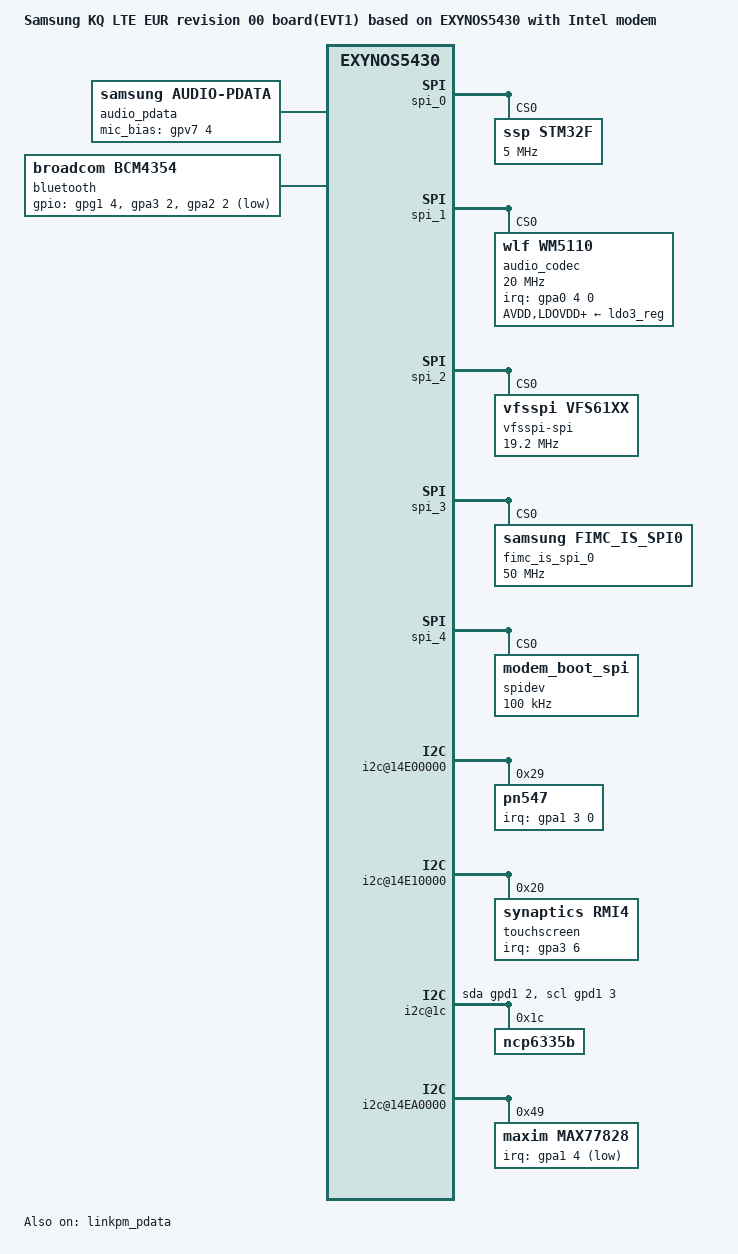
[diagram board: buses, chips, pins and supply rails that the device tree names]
/*
 * SAMSUNG UNIVERSAL5430 board device tree source
 *
 * Copyright (c) 2013 Samsung Electronics Co., Ltd.
 *		http://www.samsung.com
 *
 * This program is free software; you can redistribute it and/or modify
 * it under the terms of the GNU General Public License version 2 as
 * published by the Free Software Foundation.
*/

/dts-v1/;
#include "exynos5430-kq_common.dtsi"
#include "exynos5430-kq_battery.dtsi"

/ {
	model = "Samsung KQ LTE EUR revision 00 board(EVT1) based on EXYNOS5430 with Intel modem";
	model_info-chip = <5430>;
	model_info-platform = "kqlte";
	model_info-subtype = "kqlte_eur_open";
	model_info-hw_rev = <0>;
	model_info-hw_rev_end = <255>; /* If add new dts file for new hw , it is set to <x>. x is suppored max system revision by this dts */
	compatible = "samsung,KQ LTE EUR,r00", "samsung,exynos5430";

	dwmmc2@15560000 {
		supports-sdr104-mode;
		vmmc-en-gpio = <&gpf3 4 0x1>;
	};

	/* modem_interface_driver: Intel XMM7260 LTE Modem */
	mif_pdata {
		compatible = "sec_modem,modem_pdata";
		status = "okay";
		pinctrl-names = "default";
		pinctrl-0 = <&ap_dump_int &cp_on &pda_active &reset_req_n>;

		mif,name = "xmm7160";	/* xmm7260 */
		mif,modem_net = <0>;
		mif,modem_type = <7>;
		mif,link_types = <0x20>;
		mif,use_handover = <0>;
		mif,ipc_version = <50>;
		mif,num_iodevs = <12>;

		mif,gpio_cp_on = <&gpv6 2 0x1>;
		mif,gpio_reset_req_n = <&gpf1 1 0x1>;
		mif,gpio_cp_reset = <&gpa1 1 0x1>;
		mif,gpio_pda_active = <&gpg2 4 0x1>;
		mif,gpio_phone_active = <&gpa2 3 0xf>;
		mif,gpio_cp_dump_int = <&gpa2 6 0x0>;
		mif,gpio_ap_dump_int = <&gpg1 0 0x1>;

		mif,max_link_channel = <7>;
		mif,max_acm_channel = <3>;

		iodevs {
			io_device_0 {
				iod,name = "umts_ipc0";
				iod,id = <235>;
				iod,format = <0>;
				iod,io_type = <0>;
				iod,links = <0x20>;
				iod,attr = <0x42>;
			};
			io_device_1 {
				iod,name = "umts_rfs0";
				iod,id = <245>;
				iod,format = <2>;
				iod,io_type = <0>;
				iod,links = <0x20>;
				iod,attr = <0x62>;
			};
			io_device_2 {
				iod,name = "umts_boot0";
				iod,id = <0>;
				iod,format = <4>;
				iod,io_type = <0>;
				iod,links = <0x20>;
				iod,attr = <0>;
			};
			io_device_3 {
				iod,name = "multipdp";
				iod,id = <0>;
				iod,format = <5>;
				iod,io_type = <2>;
				iod,links = <0x20>;
				iod,attr = <0x42>;
			};
			io_device_4 {
				iod,name = "umts_router";
				iod,id = <25>;
				iod,format = <1>;
				iod,io_type = <0>;
				iod,links = <0x20>;
				iod,attr = <0x42>;
			};
			io_device_5 {
				iod,name = "umts_csd";
				iod,id = <1>;
				iod,format = <1>;
				iod,io_type = <0>;
				iod,links = <0x20>;
				iod,attr = <0x42>;
			};
			io_device_6 {
				iod,name = "umts_dm0";
				iod,id = <28>;
				iod,format = <1>;
				iod,io_type = <0>;
				iod,links = <0x20>;
				iod,attr = <0>;
			};
			io_device_7 {
				iod,name = "umts_log";
				iod,id = <27>;
				iod,format = <4>;
				iod,io_type = <0>;
				iod,links = <0x20>;
				iod,attr = <0>;
			};
			io_device_8 {
				iod,name = "rmnet0";
				iod,id = <10>;
				iod,format = <7>;
				iod,io_type = <1>;
				iod,links = <0x20>;
				iod,attr = <0x4>;
			};
			io_device_9 {
				iod,name = "rmnet1";
				iod,id = <11>;
				iod,format = <7>;
				iod,io_type = <1>;
				iod,links = <0x20>;
				iod,attr = <0x4>;
			};
			io_device_10 {
				iod,name = "rmnet2";
				iod,id = <12>;
				iod,format = <7>;
				iod,io_type = <1>;
				iod,links = <0x20>;
				iod,attr = <0x4>;
			};
			io_device_11 {
				iod,name = "rmnet3";
				iod,id = <13>;
				iod,format = <7>;
				iod,io_type = <1>;
				iod,links = <0x20>;
				iod,attr = <0x4>;
			};
		}; /* end of iodevs */
	}; /* end of mif_pdata */

	/* modem_interface_driver: Intel XMM7260 LTE Modem */
	linkpm_pdata {
		compatible = "sec_modem,linkpm_pdata";
		status = "okay";

		pinctrl-names = "default";
		pinctrl-0 = <&link_active &link_slavewake>;

		reg = <0x15510000 0x100>, /* EHCI */
		      <0x15530000 0x100>; /* PHY */

		linkpm,gpio_link_active = <&gpf0 5 0x1>;
		linkpm,gpio_link_hostwake = <&gpa1 2 0xf>;
		linkpm,gpio_link_slavewake = <&gpr3 6 0x1>;
		linkpm,gpio_suspend_req = <&gpa2 5 0x1>;

		linkpm,name = "link_pm";
		linkpm,port = <1>;
	};

	pinctrl@10FE0000 {
		cp_on: cp_on {
			samsung,pins = "gpv6-2";
			samsung,pin-function = <1>;
			samsung,pin-con-pdn = <0>;
			samsung,pin-pud-pdn = <0>;
		};
	};

	pinctrl@14CC0000 {
		ap_dump_int: ap_dump_int {
			samsung,pins = "gpg1-0";
			samsung,pin-function = <1>;
			samsung,pin-con-pdn = <3>;
			samsung,pin-pud-pdn = <0>;
		};
		pda_active: pda_active {
			samsung,pins = "gpg2-4";
			samsung,pin-function = <1>;
			samsung,pin-con-pdn = <0>;
			samsung,pin-pud-pdn = <0>;
		};
		link_active: link_active {
			samsung,pins = "gpf0-5";
			samsung,pin-function = <1>;
			samsung,pin-con-pdn = <0>;
			samsung,pin-pud-pdn = <0>;
		};
		reset_req_n: reset_req_n {
			samsung,pins = "gpf1-1";
			samsung,pin-function = <1>;
			samsung,pin-con-pdn = <1>;
			samsung,pin-pud-pdn = <0>;
		};
	};

	pinctrl@15690000 {
		link_slavewake: link_slavewake {
			samsung,pins = "gpr3-6";
			samsung,pin-function = <1>;
			samsung,pin-con-pdn = <3>;
			samsung,pin-pud-pdn = <0>;
		};
	};

	pinctrl@14CC0000 {
		uart2_rts: uart2-rts {
			samsung,pins = "gpd1-3";
			samsung,pin-function = <2>;
			samsung,pin-pud = <0>;
			samsung,pin-con-pdn = <1>;
			samsung,pin-pud-pdn = <0>;
		};

		uart2_cts: uart2-cts {
			samsung,pins = "gpd1-2";
			samsung,pin-function = <2>;
			samsung,pin-pud = <0>;
			samsung,pin-con-pdn = <2>;
			samsung,pin-pud-pdn = <1>;
		};
		uart2_tx: uart2-tx {
			samsung,pins = "gpd1-5";
			samsung,pin-function = <2>;
			samsung,pin-pud = <0>;
			samsung,pin-con-pdn = <2>;
			samsung,pin-pud-pdn = <3>;		};

		uart2_rx: uart2-rx {
			samsung,pins = "gpd1-4";
			samsung,pin-function = <2>;
			samsung,pin-pud = <3>;
			samsung,pin-con-pdn = <2>;
			samsung,pin-pud-pdn = <3>;
		};
	};

	serial@14C30000 {
		pinctrl-0 = <&uart2_rts &uart2_cts &uart2_tx &uart2_rx>;
	};

	pinctrl@14CC0000 {
		spi0_bus: spi0-bus {
			samsung,pin-drv = <3>;
		};
		spi0_cs: spi0-cs {
			samsung,pin-drv = <3>;
		};
	};

	spi_0: spi@14d20000 {
		#address-cells = <1>;
		#size-cells = <0>;
		pinctrl-names = "default";
		pinctrl-0 = <&spi0_bus>;
		pinctrl-1 = <&spi0_cs>;

		STM32F@0 {
			compatible = "ssp,STM32F";
			reg = <0>;
			spi-max-frequency = <5000000>;
			pinctrl-names = "default";
			pinctrl-0 = <&ssp_irq &ssp_irq2 &ssp_ap_int &ssp_reset>;

			gpio-controller;
			#gpio-cells = <2>;
			ssp-irq = <&gpa3 3 0x01>;
			ssp-irq2 = <&gpa3 4 0x00>;
			ssp-ap-int = <&gpa3 7 0x00>;
			ssp-reset = <&gpd4 0 0x00>;
			ssp-acc-position = <7>;
			ssp-mag-position = <7>;
			ssp-sns-combination = <0>;
			ssp-ap-rev = <1>;

			controller-data {
				cs-gpio = <&gpd8 1 0>;
				samsung,spi-feedback-delay = <0>;
				};
			};
	};

	spi_1: spi@14d30000 {
		#address-cells = <1>;
		#size-cells = <0>;
		pinctrl-names = "default";
		pinctrl-0 = <&spi1_bus>;

		audio_codec: wm5110@0 {
			compatible = "wlf,wm5110";
			reg = <0x0>;
			spi-max-frequency = <20000000>;
			interrupts = <4 0 0>;
			interrupt-parent = <&gpa0>;

			gpio-controller;
			#gpio-cells = <2>;

			pinctrl-names ="default";
			pinctrl-0 = <&codec_ctrl>;

			wlf,reset = <&gpv7 3 0>;
			wlf,ldoena = <&gpf0 0 0>;
			wlf,init-mic-delay = <30>;
			wlf,micd-detect-debounce = <300>;
			wlf,micd-bias-start-time = <0x1>;
			wlf,micd-rate = <0x7>;
			wlf,micd-dbtime = <0x1>;
			wlf,micd-timeout = <1000>;
			wlf,micd-force-micbias;
			wlf,micd-ranges = <
				139 226
				295 115
				752 114
				1257 217
			>;

			wlf,micd-configs = <
				0x0 1 0
			>;

			wlf,micbias1 = <2800 0 1 0 0>;
			wlf,micbias2 = <1800 0 1 0 0>;
			wlf,micbias3 = <1800 0 1 0 0>;

			wlf,gpio-defaults = <
				0xA101
				0xA101
				0xA101
				0xA101
				0x8101
			>;

			wlf,gpsw = <0x3>;
			wlf,use-jd-gpio;
			wlf,jd-gpio-nopull;
			wlf,micd-software-compare;
			wlf,micd-open-circuit-declare = <1>;

			wlf,max-channels-clocked = <2 0 0>;
			/* 0:MICVDD 1:MICBIAS1 2:MICBIAS2 3:MICBIAS3 */
			wlf,dmic-ref = <2 1 3 0>;
			/* 1st cell:IN1 2rd cell:IN2 3nd cell:IN3 4th cell:IN4 */
			wlf,inmode = <2 0 2 0>;

			AVDD-supply = <&ldo3_reg>;
			LDOVDD-supply = <&ldo3_reg>;
			DBVDD1-supply = <&ldo3_reg>;

			CPVDD-supply = <&ldo3_reg>;
			DBVDD2-supply = <&ldo3_reg>;
			DBVDD3-supply = <&ldo3_reg>;
			SPKVDDL-supply = <&ldo3_reg>;
			SPKVDDR-supply = <&ldo3_reg>;

			adsps {
				#address-cells = <1>;
				#size-cells = <0>;

				adsp@1100 {
					reg = <0x1100>;
					firmware {
						EDAC {
							wlf,wmfw-file = "edac";
							wlf,bin-file = "edac";
						};
						TRACE {
							wlf,wmfw-file = "trace";
							wlf,compr-caps = <1 8 0x4 1 8000 16000 24000>;
						};
					};
				};
				adsp@1200 {
					reg = <0x1200>;
					firmware {
						TX_NB {
							wlf,wmfw-file = "tx-nb";
						};
						TX_WB {
							wlf,wmfw-file = "tx-wb";
						};
						TX_SWB_INTERVIEW {
							wlf,wmfw-file = "tx-swb";
						};
						TX_SWB_CONVERSATION {
							wlf,wmfw-file = "tx-swb";
						};
					};
				};
				adsp@1300 {
					reg = <0x1300>;
					firmware {
						TX_NB {
							wlf,wmfw-file = "tx-nb";
							wlf,bin-file = "tx-nb";
						};
						TX_WB {
							wlf,wmfw-file = "tx-wb";
							wlf,bin-file = "tx-wb";
						};
						TX_SWB_INTERVIEW {
							wlf,wmfw-file = "tx-swb";
							wlf,bin-file = "tx-swb-interview";
						};
						TX_SWB_CONVERSATION {
							wlf,wmfw-file = "tx-swb";
							wlf,bin-file = "tx-swb-conversation";
						};
						VOICECONTROL {
							wlf,wmfw-file = "ez2-control";
							wlf,bin-file = "ez2-control";
						};
						LPSD {
							wlf,wmfw-file = "ez2-control";
							wlf,bin-file = "lpsd-control";
						};
					};
				};
				adsp@1400 {
					reg = <0x1400>;
					firmware {
						RX_NB {
							wlf,wmfw-file = "rx-anc-nb";
							wlf,bin-file = "rx-anc-nb";
						};
						RX_WB {
							wlf,wmfw-file = "rx-anc-wb";
							wlf,bin-file = "rx-anc-wb";
						};
					};
				};
			};
			controller-data {
				cs-gpio = <&gpd6 3 0>;
				samsung,spi-feedback-delay = <0>;
			};
		};
	};

	pinctrl@10580000 {
		btp_irq: btp-irq {
			samsung,pins = "gpa1-7";
			samsung,pin-function = <0>;
			samsung,pin-pud = <3>;
			samsung,pin-drv = <3>;
		};
		btp_reset: btp-reset {
			samsung,pins = "gpa3-1";
			samsung,pin-function = <1>;
			samsung,pin-pud = <1>;
			samsung,pin-drv = <0>;
		};
	};
	pinctrl@14CC0000 {
		ocp_flag: ocf-flag {
			samsung,pins = "gpf0-3";
			samsung,pin-function = <0>;
			samsung,pin-pud = <3>;
			samsung,pin-drv = <3>;
		};
		btp_ldo: btp-ldo {
			samsung,pins = "gpf4-0";
			samsung,pin-function = <1>;
			samsung,pin-pud = <1>;
			samsung,pin-drv = <0>;
		};
		spi2_bus: spi2-bus {
			samsung,pin-drv = <3>;
		};

		spi2_cs: spi2-cs {
			samsung,pin-drv = <3>;
		};
	};
	spi_2: spi@14d40000 {
		/delete-property/ dma-mode;
		/delete-property/ dmas;
		/delete-property/ dma-names;
		#address-cells = <1>;
		#size-cells = <0>;
		pinctrl-names = "default";
		pinctrl-0 = <&spi2_bus>;

		vfsspi-spi@0 {
			compatible = "vfsspi,vfs61xx";
			reg = <0>;
			spi-max-frequency = <19200000>;
			pinctrl-names = "default";
			pinctrl-0 = <&btp_irq &btp_reset &btp_ldo &ocp_flag>;

			gpio-controller;
			#gpio-cells = <2>;

			vfsspi-sleepPin = <&gpa3 1 0x00>;
			vfsspi-drdyPin = <&gpa1 7 0x00>;
			vfsspi-ldoPin = <&gpf4  0 0x00>;
			/* vfsspi-ocpflag = <&gpf0 3 0x00>; */
			vfsspi-orient = <1>;
			vfsspi-ldocontrol = <1>;
			vfsspi-irqpincon = <2>; /* 1: K3G(5422), 2: KQ(5430) */

			controller-data {
				cs-gpio = <&gpd5 1 0 0 3>;
				samsung,spi-feedback-delay = <0>;
			};
		};
	};

	spi_3: spi@141a0000 {
		fimc-is-spi;
		domain = "cam1";
		samsung,power-domain = <&pd_cam1>;

		#address-cells = <1>;
		#size-cells = <0>;

		fimc_is_spi_0@0 {
			compatible = "samsung,fimc_is_spi0";
			spi-max-frequency = <50000000>;
			reg = <0x0>;

			controller-data {
				cs-gpio = <&gpc0 6 0>;
				samsung,spi-feedback-delay = <0>;
			};
		};
	};

	spi_4: spi@141b0000 {
		fimc-is-spi;
		domain = "cam1";
		samsung,power-domain = <&pd_cam1>;

		#address-cells = <1>;
		#size-cells = <0>;

		spidev@0 {
			#address-cells = <1>;
			#size-cells = <1>;
			compatible = "modem_boot_spi";
			reg = <0x0>;
			spi-max-frequency = <100000>;

			controller-data {
				samsung,spi-feedback-delay = <0>;
				samsung,spi-chip-select-mode = <1>;
			};
		};
	};


	mipi-lli@10F24000 {
		reg = <0x10F24000 0x4000>,
		      <0x10F34000 0x4000>,
		      <0x10FD0000 0x2000>,
		      <0x105C0720 0x4>;
	};

	audio_pdata {
		compatible = "samsung,audio-pdata";

		mic_bias_gpio = <&gpv7 4 0>;
		status = "okay";
	};

	pinctrl@14CC0000 {
		codec_ctrl: codec-ctl {
			samsung,pins ="gpv7-3", "gpv7-4", "gpf0-0";
			samsung,pin-con-pdn =<3>;
		};
	};

	i2c@14E00000 {
		samsung,i2c-sda-delay = <100>;
		samsung,i2c-max-bus-freq = <400000>;
		#address-cells = <1>;
		#size-cells = <0>;
		status = "okay";

		pn547@2b {
			compatible = "pn547";
			reg = <0x29>;

			interrupts = <3 0 0>;
			interrupt-parent = <&gpa1>;

			pn547-en = <&gpf1 4 0>;
			pn547-irq = <&gpa1 3 0>;
			pn547-firmware = <&gpj0 2 0>;
			pn547-clk-req = <&gpa0 0 0xf>;
			pn547-clk-use = <2>;
			pinctrl-names = "default";
			pinctrl-0 = <&fimc_is_ch1_mclk>;
			clock-names = "sclk_isp_sensor1",
						"mout_sclk_isp_sensor1",
						"dout_sclk_isp_sensor1_a",
						"dout_sclk_isp_sensor1_b",
						"gate_top_cam1";
			clocks = <&clock 34>,
					<&clock 3067>,
					<&clock 4092>,
					<&clock 4093>,
					<&clock 2780>;
		};

		fimc_is_fan53555@60 {
			status = "disabled";
		};
	};

	pinctrl@10580000 {
		attn_irq: attn-irq {
			samsung,pins = "gpa3-6";
			samsung,pin-function = <0xf>;
			samsung,pin-pud = <0>;
			samsung,pin-drv = <0>;
		};
		attn_input: attn-input {
			samsung,pins = "gpa3-6";
			samsung,pin-function = <0>;
			samsung,pin-pud = <1>;
			samsung,pin-drv = <0>;
		};
	};

	i2c@14E10000 {
		samsung,i2c-sda-delay = <100>;
		samsung,i2c-max-bus-freq = <400000>;
		status = "okay";
		touchscreen@20 {
			compatible = "synaptics,rmi4";
			reg = <0x20>;
			pinctrl-names = "on_state", "off_state";
			pinctrl-0 = <&attn_irq>;
			pinctrl-1 = <&attn_input>;
			synaptics,irq_gpio = <&gpa3 6 0>;
			synaptics,irq_type = <8200>;
			synaptics,max_coords = <1439 2559>;	/* x y */
			synaptics,num_lines = <29 16>;		/* rx tx */
			synaptics,regulator_dvdd = "tsp_io";
			synaptics,regulator_avdd = "tsp_avdd";
			synaptics,project_name = "KQ";
		};
	};

	fimc_is@14000000 {
		use_vision = <0>;
	};
	fimc_is_companion: fimc_is_companion@14180000 {
		gpios_comp_en = <&gpg1 2 0x1>; /* COMP_EN */
	};

	fimc_is_sensor0: fimc_is_sensor@12100000 {
		gpios_comp_en = <&gpg1 2 0x1>; /* COMP_EN */
	};

	i2c@1c{
		compatible = "i2c-gpio";
		gpios = <&gpd1 2 0 /* sda */
                            &gpd1 3 0 /* scl */
                            >;
		i2c-gpio,delay-us = <2>;
		#address-cells = <1>;
		#size-cells = <0>;
		status = "okay";

		ncp6335b@1c {
			compatible = "ncp6335b";
			reg = <0x1c>;
			ncp6335b,dev_name = "ncp6335b";
		};
	};

	pinctrl@14CC0000 {
		vibetonz_pwm: vibetonz-pwm {
		      samsung,pins = "gpd2-4";
		      samsung,pin-function = <2>;
		      samsung,pin-pud = <0>;
		      samsung,pin-drv = <0>;
	      };
	};
	i2c@14EA0000 {
		samsung,i2c-sda-delay = <100>;
		samsung,i2c-max-bus-freq = <400000>;
		status = "okay";
		max77804@66 {
			status = "disabled";
		};
		max77828@49 {
			compatible = "maxim,max77828";
			reg = <0x49>;
			pinctrl-names = "default";
			pinctrl-0 = <&mfd_irq &vibetonz_pwm>;
			max77828,irq-gpio = <&gpa1 4 1>;
			max77828,wakeup;
			haptic {
				haptic,max_timeout = <10000>;
				haptic,duty = <34500>;
				haptic,period = <38240>;
				haptic,pwm_id = <0>;
				haptic,regulator_name = "VCC_3.0V_MOTOR_AP";
			};
		};
	};

	pinctrl@114B0000 {
		uart_aud_rts: uart-aud-rts {
			samsung,pins = "gpz1-3";
			samsung,pin-function = <2>;
			samsung,pin-pud = <0>;
			samsung,pin-con-pdn = <1>;
			samsung,pin-pud-pdn = <0>;
		};

		uart_aud_cts: uart-aud-cts {
			samsung,pins = "gpz1-2";
			samsung,pin-function = <2>;
			samsung,pin-pud = <0>;
			samsung,pin-con-pdn = <2>;
			samsung,pin-pud-pdn = <0>;
		};

		uart_aud_rx: uart-aud-rx {
			samsung,pins = "gpz1-1";
			samsung,pin-function = <2>;
			samsung,pin-pud = <0>;
			samsung,pin-con-pdn = <2>;
			samsung,pin-pud-pdn = <0>;
		};

		uart_aud_tx: uart-aud-tx {
			samsung,pins = "gpz1-0";
			samsung,pin-function = <2>;
			samsung,pin-pud = <0>;
			samsung,pin-con-pdn = <1>;
			samsung,pin-pud-pdn = <0>;
		};
	};

	serial@11460000 {
		pinctrl-0 = <&uart_aud_rts &uart_aud_cts &uart_aud_rx &uart_aud_tx>;
	};

/*
			samsung,pins = "gpa0-0";

			samsung,pin-function = <2>;
			0 : input, 1 : output 2 : special_function

			samsung,pin-pud = <0>;
			0 : reserved 1 : pull down 2 : reserved 3 : pull up

			samsung,pin-con-pdn = <2>;
			0 : output0 1 : output1 2: input 3: previous state

			samsung,pin-pud-pdn = <0>;
			0 : pull up/down disable 1 : pull down 2 : reserved 3 : pull up
*/

	pinctrl@14CC0000 {
		cfg_en: cfg-en {
			samsung,pins ="gpg1-4";
			samsung,pin-function = <1>;
			samsung,pin-pud = <1>;
			samsung,pin-con-pdn = <3>;
			samsung,pin-pud-pdn = <1>;
		};
	};

	pinctrl@10580000{
		cfg_hostwake: cfg-hostwake {
			samsung,pins = "gpa2-2";
			samsung,pin-function = <0>;
			samsung,pin-pud = <2>;
			samsung,pin-con-pdn = <2>;
			samsung,pin-pud-pdn = <0>;
		};

		cfg_btwake: cfg-btwake {
			samsung,pins = "gpa3-2";
			samsung,pin-function = <1>;
			samsung,pin-pud = <1>;
			samsung,pin-con-pdn = <0>;
			samsung,pin-pud-pdn = <1>;
		};
	};

	bluetooth {
		compatible = "broadcom,bcm4354";

		gpios = <&gpg1 4 0	/*BT_EN*/
				&gpa3 2 0	/*BT_WAKE*/
				&gpa2 2 0xF	/*BT_HOST_WAKE*/ >;

		pinctrl-names = "default";
		pinctrl-0=<&cfg_hostwake &cfg_btwake &cfg_en>;
		status = "okay";
	};

	usb_notifier {
		gpios_redriver_en = <&gpf3 2 0x1>; /* USB3.0_REDRIVER_EN */
	};
};
